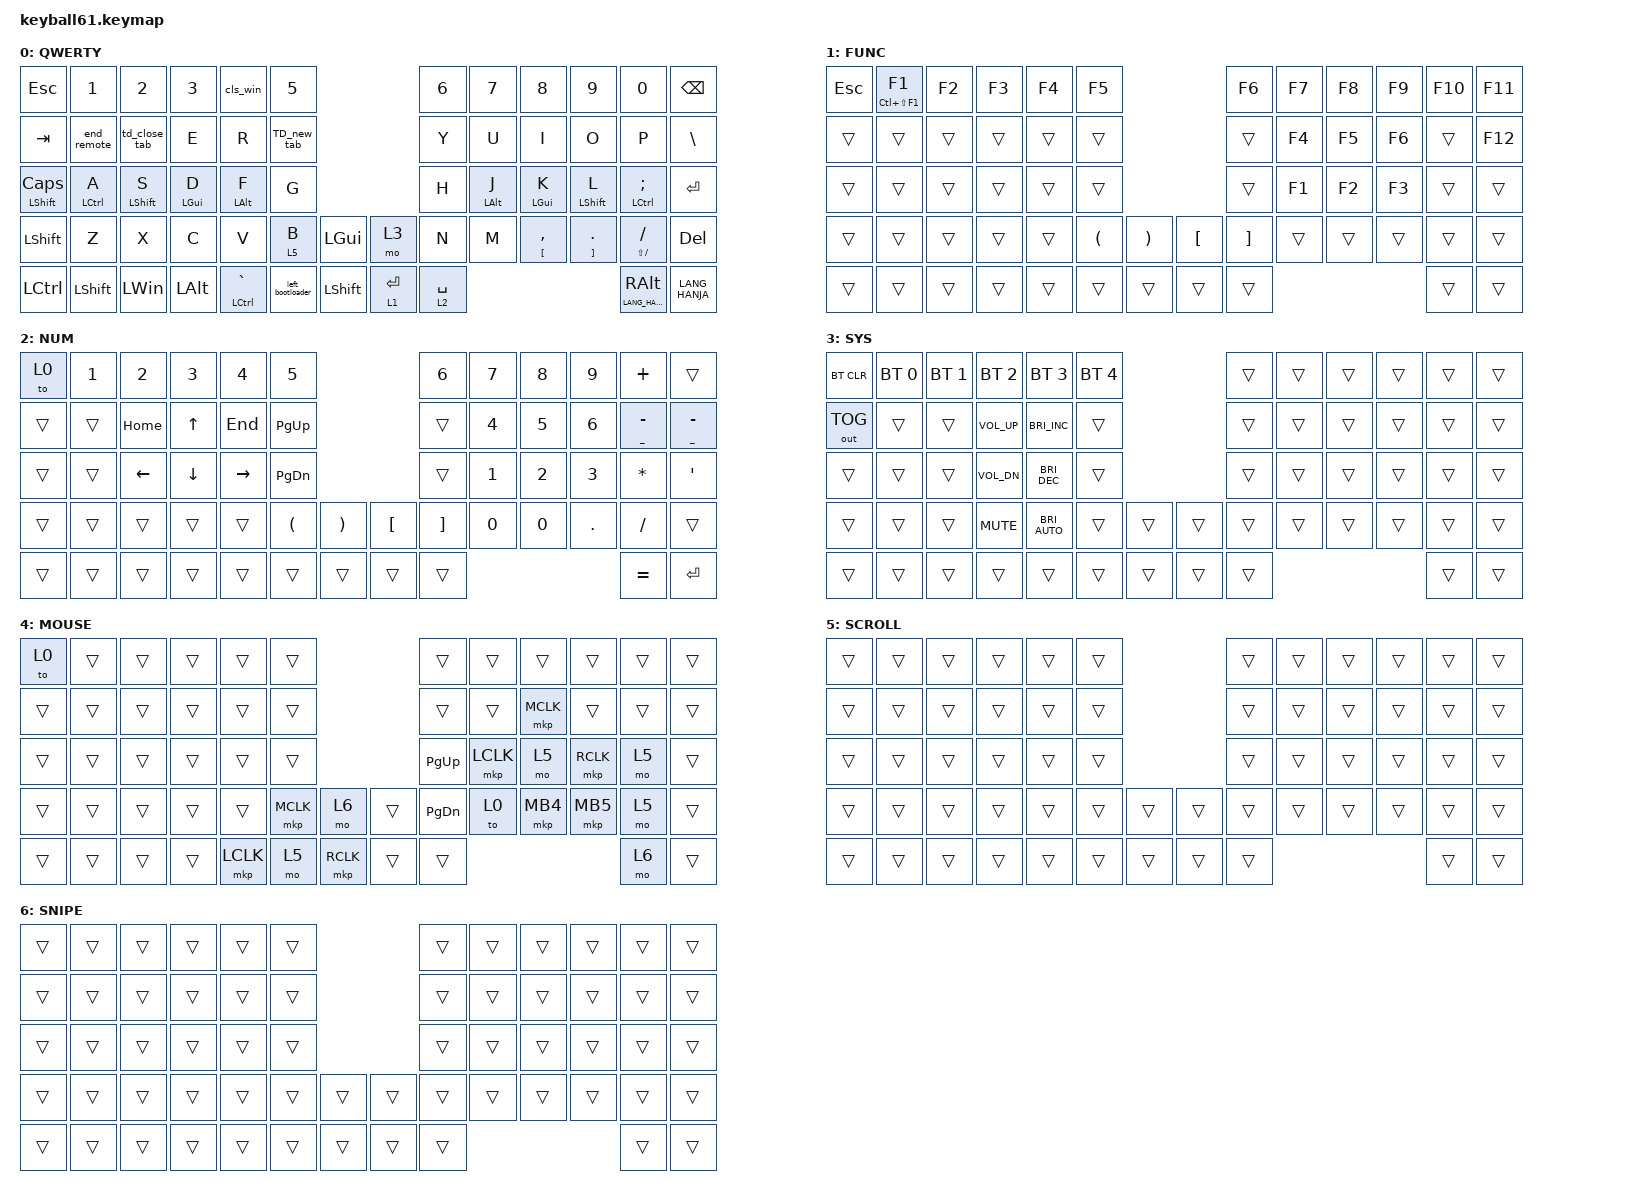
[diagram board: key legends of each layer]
#define DEFAULT 0
#define SYM     1
#define FUN     2
#define MOUSE   3
#define SCROLL  4
#define SNIPE   5

#include <behaviors/mouse_keys.dtsi>
#include <dt-bindings/zmk/mouse.h>
#include <behaviors.dtsi>
#include <dt-bindings/zmk/bt.h>
#include <dt-bindings/zmk/keys.h>
#include <dt-bindings/zmk/outputs.h>
#include <dt-bindings/zmk/pointing.h>

&lt {
    tapping-term-ms = <240>;
    flavor = "balanced";
    quick-tap-ms = <150>;
};

&mt {
    tapping-term-ms = <200>;
    flavor = "tap-preferred";
    quick-tap-ms = <150>;
};

/ {
    behaviors {
        hrow: homerow_mods {
            compatible = "zmk,behavior-hold-tap";
            label = "HOMEROW_MODS";
            bindings = <&kp>, <&kp>;

            #binding-cells = <2>;
            tapping-term-ms = <200>;
            quick-tap-ms = <100>;
            flavor = "tap-preferred";
            retro-tap;
        };

        TD_new_tab: TD_new_tab {
            compatible = "zmk,behavior-tap-dance";
            label = "td_new_tab";
            #binding-cells = <0>;
            bindings = <&kp T>, <&macro_tt>, <&kp LC(T)>;
        };

        td_close_tab: td_close_tab {
            compatible = "zmk,behavior-tap-dance";
            label = "TD_CLOSE_TAB";
            #binding-cells = <0>;
            bindings = <&kp W>, <&macro_ww>, <&kp LC(W)>;
        };

        end_remote: end_remote {
            compatible = "zmk,behavior-tap-dance";
            label = "END_REMOTE";
            #binding-cells = <0>;
            bindings = <&kp Q>, <&none>, <&kp LS(LC(LA(Q)))>;
        };

        cls_win: cls_win {
            compatible = "zmk,behavior-tap-dance";
            label = "CLS_WIN";
            #binding-cells = <0>;
            bindings = <&kp N4>, <&macro_44>, <&kp LA(F4)>;
        };

        hold_layer: hold_layer {
            compatible = "zmk,behavior-hold-tap";
            label = "HOLD_LAYER";
            bindings = <&mo>, <&kp>;

            #binding-cells = <2>;
            tapping-term-ms = <200>;
            quick-tap-ms = <200>;
            require-prior-idle-ms = <125>;
            flavor = "tap-preferred";
        };

        left_bootloader: left_bootloader {
            compatible = "zmk,behavior-mod-morph";
            label = "LEFT_BOOTLOADER";
            bindings = <&kp SPACE>, <&bootloader>;

            #binding-cells = <0>;
            mods = <(MOD_LSFT|MOD_LCTL)>;
        };
    };

    combos {
        compatible = "zmk,combos";

        bootloader {
            bindings = <&bootloader>;
            key-positions = <49 60>;
        };

        toggle_mouse_layer {
            bindings = <&tog 4>;
            key-positions = <31 32 33>;
            require-prior-idle-ms = <1000>;
            timeout-ms = <100>;
        };

        toggle_num_layer {
            bindings = <&tog 2>;
            key-positions = <26 27 28>;
            timeout-ms = <100>;
            require-prior-idle-ms = <1000>;
        };
    };

    macros {
        macro_tt: macro_tt {
            compatible = "zmk,behavior-macro";
            #binding-cells = <0>;
            bindings = <&kp T &kp T>;
            label = "MACRO_TT";
        };

        macro_ww: macro_ww {
            compatible = "zmk,behavior-macro";
            #binding-cells = <0>;
            bindings = <&kp W &kp W>;
            label = "MACRO_WW";
        };

        macro_44: macro_44 {
            compatible = "zmk,behavior-macro";
            #binding-cells = <0>;
            bindings = <&kp NUMBER_4 &kp N4>;
            label = "MACRO_44";
        };
    };

    keymap {
        compatible = "zmk,keymap";

        default_layer {
            label = "QWERTY";
            bindings = <
&kp ESC                &kp N1                &kp N2              &kp N3            &cls_win                  &kp N5                                       &kp N6               &kp N7            &kp N8                  &kp N9                    &kp N0                        &kp BSPC
&kp TAB                &end_remote           &td_close_tab       &kp E             &kp R                     &TD_new_tab                                  &kp Y                &kp U             &kp I                   &kp O                     &kp P                         &kp BACKSLASH
&hrow LSHIFT CAPSLOCK  &hrow LEFT_CONTROL A  &hrow LEFT_SHIFT S  &hrow LEFT_GUI D  &hrow LEFT_ALT F          &kp G                                        &kp H                &hrow LEFT_ALT J  &hrow LEFT_GUI K        &hrow LEFT_SHIFT L        &hrow LEFT_CONTROL SEMICOLON  &kp ENTER
&kp LEFT_SHIFT         &kp Z                 &kp X               &kp C             &kp V                     &hold_layer 5 B   &kp LEFT_GUI  &mo 3        &kp N                &kp M             &mt LEFT_BRACKET COMMA  &mt RIGHT_BRACKET PERIOD  &mt LS(SLASH) SLASH           &kp DELETE
&kp LEFT_CONTROL       &kp LEFT_SHIFT        &kp LEFT_WIN        &kp LEFT_ALT      &hrow LEFT_CONTROL GRAVE  &left_bootloader  &kp LSHIFT    &lt 1 ENTER  &hold_layer 2 SPACE                                                                      &mt LANG_HANJA RIGHT_ALT      &kp LANG_HANJA
            >;
        };

        function_layer {
            label = "FUNC";
            bindings = <
&kp ESC  &mt LC(LS(F1)) F1  &kp F2  &kp F3  &kp F4  &kp F5                                                         &kp F6             &kp F7  &kp F8  &kp F9  &kp F10  &kp F11
&trans   &trans             &trans  &trans  &trans  &trans                                                         &trans             &kp F4  &kp F5  &kp F6  &trans   &kp F12
&trans   &trans             &trans  &trans  &trans  &trans                                                         &trans             &kp F1  &kp F2  &kp F3  &trans   &trans
&trans   &trans             &trans  &trans  &trans  &kp LEFT_PARENTHESIS  &kp RIGHT_PARENTHESIS  &kp LEFT_BRACKET  &kp RIGHT_BRACKET  &trans  &trans  &trans  &trans   &trans
&trans   &trans             &trans  &trans  &trans  &trans                &trans                 &trans            &trans                                     &trans   &trans
            >;
        };

        number_layer {
            bindings = <
&to 0   &kp N1  &kp N2    &kp N3    &kp N4     &kp N5                                                         &kp N6             &kp N7  &kp N8  &kp N9   &kp PLUS              &trans
&trans  &trans  &kp HOME  &kp UP    &kp END    &kp PAGE_UP                                                    &trans             &kp N4  &kp N5  &kp N6   &mt UNDERSCORE MINUS  &mt UNDERSCORE MINUS
&trans  &trans  &kp LEFT  &kp DOWN  &kp RIGHT  &kp PAGE_DOWN                                                  &trans             &kp N1  &kp N2  &kp N3   &kp ASTERISK          &kp APOS
&trans  &trans  &trans    &trans    &trans     &kp LEFT_PARENTHESIS  &kp RIGHT_PARENTHESIS  &kp LEFT_BRACKET  &kp RIGHT_BRACKET  &kp N0  &kp N0  &kp DOT  &kp FSLH              &trans
&trans  &trans  &trans    &trans    &trans     &trans                &trans                 &trans            &trans                                      &kp EQUAL             &kp ENTER
            >;

            label = "NUM";
        };

        system_layer {
            label = "SYS";
            bindings = <
&bt BT_CLR    &bt BT_SEL 0  &bt BT_SEL 1  &bt BT_SEL 2  &bt BT_SEL 3           &bt BT_SEL 4                  &trans  &trans  &trans  &trans  &trans  &trans
&out OUT_TOG  &trans        &trans        &kp C_VOL_UP  &kp C_BRIGHTNESS_INC   &trans                        &trans  &trans  &trans  &trans  &trans  &trans
&trans        &trans        &trans        &kp C_VOL_DN  &kp C_BRIGHTNESS_DEC   &trans                        &trans  &trans  &trans  &trans  &trans  &trans
&trans        &trans        &trans        &kp K_MUTE    &kp C_BRIGHTNESS_AUTO  &trans        &trans  &trans  &trans  &trans  &trans  &trans  &trans  &trans
&trans        &trans        &trans        &trans        &trans                 &trans        &trans  &trans  &trans                          &trans  &trans
            >;
        };

        mouse_layer {
            label = "MOUSE";
            bindings = <
&to 0   &trans  &trans  &trans  &trans     &trans                        &trans         &trans     &trans     &trans     &trans  &trans
&trans  &trans  &trans  &trans  &trans     &trans                        &trans         &trans     &mkp MCLK  &trans     &trans  &trans
&trans  &trans  &trans  &trans  &trans     &trans                        &kp PAGE_UP    &mkp LCLK  &mo 5      &mkp RCLK  &mo 5   &trans
&trans  &trans  &trans  &trans  &trans     &mkp MCLK  &mo 6      &trans  &kp PAGE_DOWN  &to 0      &mkp MB4   &mkp MB5   &mo 5   &trans
&trans  &trans  &trans  &trans  &mkp LCLK  &mo 5      &mkp RCLK  &trans  &trans                                          &mo 6   &trans
            >;
        };

        scroll_layer {
            label = "SCROLL";
            bindings = <
&trans  &trans  &trans  &trans  &trans  &trans                  &trans  &trans  &trans  &trans  &trans  &trans
&trans  &trans  &trans  &trans  &trans  &trans                  &trans  &trans  &trans  &trans  &trans  &trans
&trans  &trans  &trans  &trans  &trans  &trans                  &trans  &trans  &trans  &trans  &trans  &trans
&trans  &trans  &trans  &trans  &trans  &trans  &trans  &trans  &trans  &trans  &trans  &trans  &trans  &trans
&trans  &trans  &trans  &trans  &trans  &trans  &trans  &trans  &trans                          &trans  &trans
            >;
        };

        snipe_layer {
            label = "SNIPE";
            bindings = <
&trans  &trans  &trans  &trans  &trans  &trans                  &trans  &trans  &trans  &trans  &trans  &trans
&trans  &trans  &trans  &trans  &trans  &trans                  &trans  &trans  &trans  &trans  &trans  &trans
&trans  &trans  &trans  &trans  &trans  &trans                  &trans  &trans  &trans  &trans  &trans  &trans
&trans  &trans  &trans  &trans  &trans  &trans  &trans  &trans  &trans  &trans  &trans  &trans  &trans  &trans
&trans  &trans  &trans  &trans  &trans  &trans  &trans  &trans  &trans                          &trans  &trans
            >;
        };
    };
};
